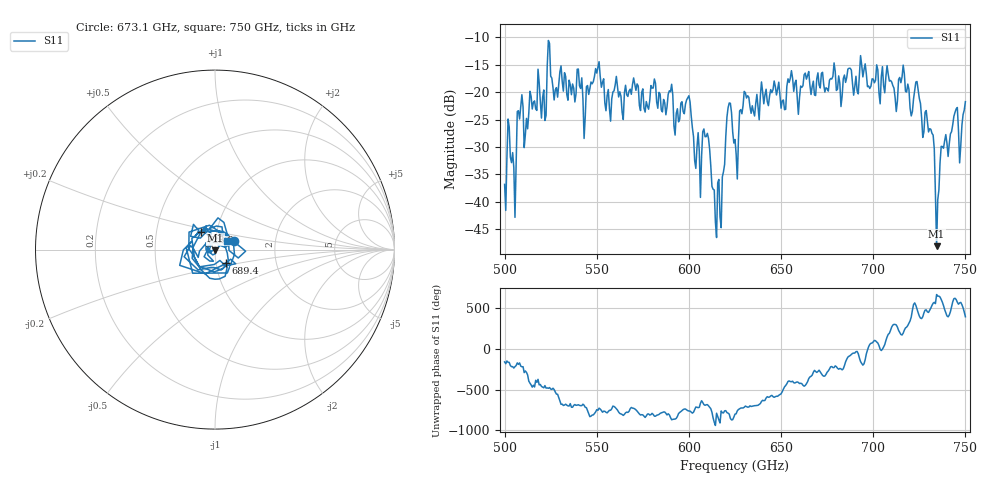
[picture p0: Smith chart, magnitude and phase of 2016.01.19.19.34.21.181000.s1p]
!Created with skrf (http://scikit-rf.org).
# GHz S RI R 50.0
!freq ReS11 ImS11
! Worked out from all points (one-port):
!   401 points, 500 GHz to 750 GHz, reference 50 ohm
!   lowest |S11| = -48.1 dB at 734.4 GHz (marker M1), VSWR 1.01, Z = 50.2 - j0.313 ohm
!   |S11| at or under -10 dB: start of sweep to end of sweep
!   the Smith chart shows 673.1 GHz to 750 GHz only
!   S11 on the Smith chart (normalised r, x): 673.1 GHz: 1.23, +0.12; 689.4 GHz: 1.11, -0.16; 723.8 GHz: 0.84, +0.17; 750 GHz: 1.14, +0.11
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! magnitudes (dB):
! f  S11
! 500 GHz  -36.8
! 502.5 GHz  -26.4
! 505 GHz  -33.8
! 508.1 GHz  -24.9
! 521.2 GHz  -19.6
! 524.4 GHz  -11.1
! 527.5 GHz  -19.6
! 531.2 GHz  -18.1
! 562.5 GHz  -19.9
! 590 GHz  -19.9
! 593.8 GHz  -23.0
! 599.4 GHz  -21.0
! 605 GHz  -27.4
! 609.4 GHz  -28.1
! 616.2 GHz  -35.9
! 621.9 GHz  -22.0
! 625 GHz  -28.7
! 631.2 GHz  -21.1
! 656.2 GHz  -17.5
! 673.1 GHz  -18.6
! 687.5 GHz  -15.6
! 689.4 GHz  -20.6
! 718.8 GHz  -18.5
! 723.8 GHz  -18.1
! 731.9 GHz  -27.5
! 734.4 GHz  -48.1
! 738.1 GHz  -30.2
! 750 GHz  -21.7
